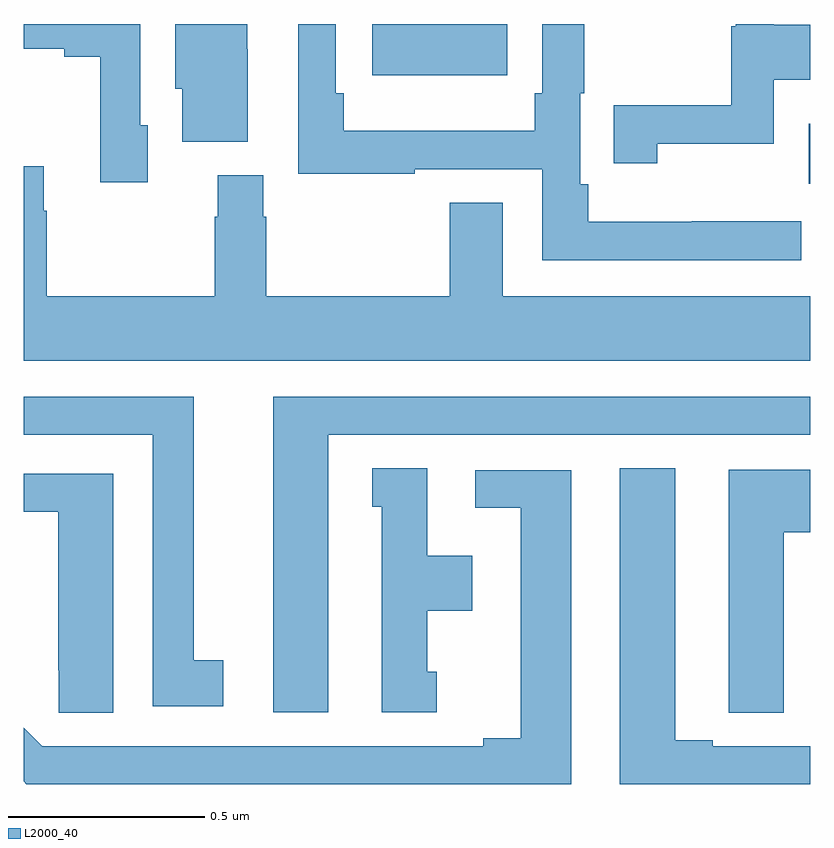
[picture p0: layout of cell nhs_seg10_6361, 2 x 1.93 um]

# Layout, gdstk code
import gdstk
lib = gdstk.Library(unit=1e-6, precision=1e-09)
def R(c, l, rs):  # rectangles x0, y0, x1, y1
    for r in rs: c.add(gdstk.rectangle(r[:2], r[2:], *l))
def P(c, l, *ps):  # polygons
    for p in ps: c.add(gdstk.Polygon(p, *l))
L2000_40 = (2000, 40)

nhs_seg10_6361 = lib.new_cell('nhs_seg10_6361')
R(nhs_seg10_6361, L2000_40, [(191.996,1306.094,192,1306.246), (190.886,1306.37,191.23,1306.5)])
P(nhs_seg10_6361, L2000_40, [(190.57,1306.436),(190.569,1306.436),(190.569,1306.5),(190.385,1306.5),(190.385,1306.335),(190.403,1306.335),(190.403,1306.201),(190.57,1306.201)],
  [(191.977,1305.998),(191.698,1305.998),(191.698,1305.997),(191.435,1305.997),(191.435,1306.093),(191.415,1306.093),(191.415,1306.324),(191.425,1306.324),(191.425,1306.5),(191.319,1306.5),(191.319,1306.324),(191.299,1306.324),(191.299,1306.228),(190.814,1306.228),(190.814,1306.324),(190.794,1306.324),(190.794,1306.5),(190.698,1306.5),(190.698,1306.119),(190.994,1306.119),(190.994,1306.131),(191.319,1306.131),(191.319,1305.9),(191.977,1305.9)],
  [(190.315,1306.242),(190.296,1306.242),(190.296,1306.5),(190,1306.5),(190,1306.437),(190.103,1306.437),(190.103,1306.417),(190.195,1306.417),(190.195,1306.098),(190.315,1306.098)],
  [(191.611,1306.196),(191.907,1306.196),(191.907,1306.358),(192,1306.358),(192,1306.498),(191.907,1306.498),(191.907,1306.5),(191.81,1306.5),(191.81,1306.494),(191.799,1306.494),(191.799,1306.294),(191.5,1306.294),(191.5,1306.146),(191.611,1306.146)],
  [(192,1305.808),(191.218,1305.808),(191.218,1306.045),(191.083,1306.045),(191.083,1305.808),(190.617,1305.808),(190.617,1306.01),(190.609,1306.01),(190.609,1306.116),(190.493,1306.116),(190.493,1306.01),(190.486,1306.01),(190.486,1305.808),(190.059,1305.808),(190.059,1306.025),(190.051,1306.025),(190.051,1306.138),(190,1306.138),(190,1305.644),(192,1305.644)],
  [(190.774,1305.456),(192,1305.456),(192,1305.552),(190.634,1305.552),(190.634,1304.751),(190.774,1304.751)],
  [(190.507,1304.882),(190.432,1304.882),(190.432,1305.552),(190,1305.552),(190,1305.456),(190.328,1305.456),(190.328,1304.766),(190.507,1304.766)],
  [(191.05,1304.853),(191.026,1304.853),(191.026,1305.008),(191.14,1305.008),(191.14,1305.148),(191.026,1305.148),(191.026,1305.371),(190.886,1305.371),(190.886,1305.273),(190.91,1305.273),(190.91,1304.751),(191.05,1304.751)],
  [(192,1304.664),(191.752,1304.664),(191.752,1304.679),(191.656,1304.679),(191.656,1305.371),(191.516,1305.371),(191.516,1304.568),(192,1304.568)],
  [(191.932,1305.208),(192,1305.208),(192,1305.367),(191.792,1305.367),(191.792,1304.857),(191.793,1304.857),(191.793,1304.749),(191.932,1304.749)],
  [(191.392,1305.366),(191.148,1305.366),(191.148,1305.27),(191.264,1305.27),(191.264,1304.684),(191.168,1304.684),(191.168,1304.664),(190.047,1304.664),(190,1304.711),(190,1304.575),(190.007,1304.568),(191.392,1304.568)],
  [(190.228,1305.357),(190,1305.357),(190,1305.26),(190.088,1305.26),(190.088,1304.857),(190.089,1304.857),(190.089,1304.749),(190.228,1304.749)])

lib.write_gds('nhs_seg10_6361.gds')
